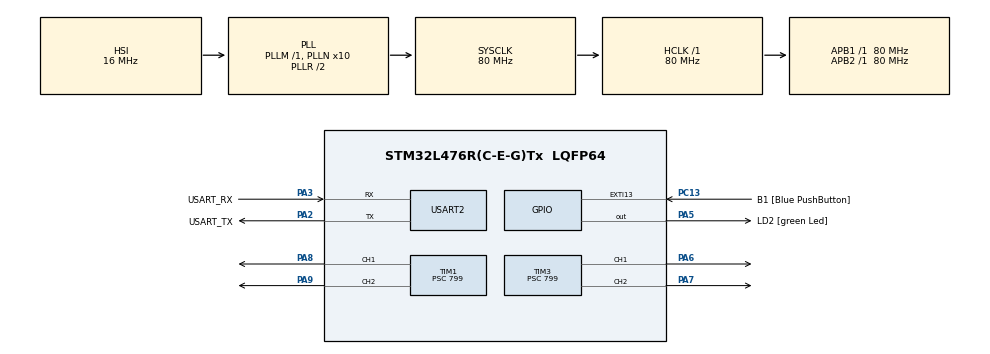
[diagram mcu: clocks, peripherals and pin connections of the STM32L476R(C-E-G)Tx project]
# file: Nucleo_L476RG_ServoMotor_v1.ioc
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Mcu.Family=STM32L4
PA2.GPIO_PuPd=GPIO_NOPULL
RCC.CortexFreq_Value=80000000
PH0-OSC_IN\ (PH0).Signal=RCC_OSC_IN
PA3.GPIO_PuPd=GPIO_NOPULL
PA2.GPIO_Speed=GPIO_SPEED_FREQ_VERY_HIGH
PC15-OSC32_OUT\ (PC15).Mode=LSE-External-Oscillator
PC13.GPIO_Label=B1 [Blue PushButton]
PA3.GPIO_Speed=GPIO_SPEED_FREQ_VERY_HIGH
RCC.SYSCLKSource=RCC_SYSCLKSOURCE_PLLCLK
ProjectManager.StackSize=0x400
PB3\ (JTDO-TRACESWO).Signal=SYS_JTDO-SWO
PC14-OSC32_IN\ (PC14).Mode=LSE-External-Oscillator
PA14\ (JTCK-SWCLK).Signal=SYS_JTCK-SWCLK
TIM1.Prescaler=799
RCC.HCLKFreq_Value=80000000
RCC.APB2TimFreq_Value=80000000
TIM3.Period=1999
RCC.AHBFreq_Value=80000000
RCC.PREFETCH_ENABLE=1
TIM3.Channel-PWM\ Generation1\ CH1=TIM_CHANNEL_1
RCC.HSE_VALUE=8000000
USART2.VirtualMode-Asynchronous=VM_ASYNC
TIM1.Channel-PWM\ Generation1\ CH1=TIM_CHANNEL_1
TIM3.Prescaler=799
PA5.GPIO_PuPd=GPIO_NOPULL
PC13.GPIO_PuPd=GPIO_NOPULL
PA8.Signal=S_TIM1_CH1
SH.S_TIM3_CH1.0=TIM3_CH1,PWM Generation1 CH1
VP_TIM1_VS_ClockSourceINT.Mode=Internal
Mcu.Package=LQFP64
PA6.Signal=S_TIM3_CH1
PA2.GPIO_Label=USART_TX
RCC.APB1TimFreq_Value=80000000
TIM1.Period=1999
PA13\ (JTMS-SWDIO).Signal=SYS_JTMS-SWDIO
VP_TIM3_VS_ClockSourceINT.Mode=Internal
PA3.Signal=USART2_RX
PA2.GPIO_Mode=GPIO_MODE_AF_PP
RCC.MSI_VALUE=4000000
RCC.PLLSourceVirtual=RCC_PLLSOURCE_HSI
PA14\ (JTCK-SWCLK).Mode=Serial_Wire
PC13.Signal=GPXTI13
PC15-OSC32_OUT\ (PC15).Signal=RCC_OSC32_OUT
PA14\ (JTCK-SWCLK).GPIO_Label=TCK
PB3\ (JTDO-TRACESWO).GPIO_Label=SWO
PH1-OSC_OUT\ (PH1).Signal=RCC_OSC_OUT
PA3.Mode=Asynchronous
SH.S_TIM1_CH1.0=TIM1_CH1,PWM Generation1 CH1
ProjectManager.TargetToolchain=STM32CubeIDE
PA3.GPIO_Mode=GPIO_MODE_AF_PP
PA9.Signal=S_TIM1_CH2
TIM1.Channel-PWM\ Generation2\ CH2=TIM_CHANNEL_2
RCC.USBFreq_Value=64000000
PA5.Signal=GPIO_Output
SH.S_TIM3_CH2.0=TIM3_CH2,PWM Generation2 CH2
board=NUCLEO-L476RG
RCC.VCOOutputFreq_Value=160000000
RCC.APB2Freq_Value=80000000
PA5.GPIO_ModeDefaultOutputPP=GPIO_MODE_OUTPUT_PP
PA13\ (JTMS-SWDIO).GPIO_Label=TMS
SH.S_TIM1_CH2.0=TIM1_CH2,PWM Generation2 CH2
RCC.ADCFreq_Value=64000000
Mcu.Name=STM32L476R(C-E-G)Tx
PA2.Signal=USART2_TX
PA13\ (JTMS-SWDIO).Mode=Serial_Wire
RCC.SYSCLKFreq_VALUE=80000000
PA5.GPIO_Label=LD2 [green Led]
PC13.GPIO_ModeDefaultEXTI=GPIO_MODE_IT_FALLING
PC14-OSC32_IN\ (PC14).Signal=RCC_OSC32_IN
ProjectManager.HeapSize=0x200
RCC.HSI_VALUE=16000000
PA5.GPIO_Speed=GPIO_SPEED_FREQ_LOW
NVIC.PriorityGroup=NVIC_PRIORITYGROUP_4
TIM3.Channel-PWM\ Generation2\ CH2=TIM_CHANNEL_2
RCC.PLLN=10
PA2.Mode=Asynchronous
RCC.APB1Freq_Value=80000000
PA3.GPIO_Label=USART_RX
PA7.Signal=S_TIM3_CH2

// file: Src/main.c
/* USER CODE BEGIN Header */
/**
 ******************************************************************************
 * @file           : main.c
 * @brief          : Main program body
 ******************************************************************************
 * @attention
 *
 * <h2><center>&copy; Copyright (c) 2020 STMicroelectronics.
 * All rights reserved.</center></h2>
 *
 * This software component is licensed by ST under BSD 3-Clause license,
 * the "License"; You may not use this file except in compliance with the
 * License. You may obtain a copy of the License at:
 *                        opensource.org/licenses/BSD-3-Clause
 *
 ******************************************************************************
 */
/* USER CODE END Header */

#include "main.h"
#include <stdio.h>
#include <stdlib.h>

/* USER CODE BEGIN PTD */
typedef struct {
	char name[10];
	uint16_t nbArgs;
	void (*pCmdFunc)();
} CMD_T;

/* USER CODE END PTD */

/* USER CODE BEGIN PD */
#define MOTOR1 (1<<0)
#define MOTOR2 (1<<1)
#define MOTOR3 (1<<2)
#define MOTOR4 (1<<3)
/* USER CODE END PD */

TIM_HandleTypeDef htim1;
TIM_HandleTypeDef htim3;

UART_HandleTypeDef huart2;

void SystemClock_Config(void);
static void MX_GPIO_Init(void);
static void MX_TIM1_Init(void);
static void MX_USART2_UART_Init(void);
static void MX_TIM3_Init(void);

__IO uint16_t cmdIndex=0;
#define DEBUG   0
#define MAXARGS 1 // 1 maximum number of arguments

void CMD_Motor(    uint16_t nbArgs, int32_t *args );

const CMD_T CmdTable[] = {
		{"M",   2, CMD_Motor},
		{"",        0, NULL}
};
/* USER CODE BEGIN PFP */
void UART_ReadString(char* str);
void CMD_Parser(char* str);

void ServoMotorOn(uint8_t motor);
void ServoMotorOff(uint8_t motor);
void ServoMotorSetAngle(uint8_t motor, uint8_t angle);

/* USER CODE END PFP */

/* USER CODE BEGIN 0 */

#ifdef __GNUC__
/* With GCC, small printf (option LD Linker->Libraries->Small printf
     set to 'Yes') calls __io_putchar() */
#define PUTCHAR_PROTOTYPE int __io_putchar(int ch)
#else
#define PUTCHAR_PROTOTYPE int fputc(int ch, FILE *f)
#endif /* __GNUC__ */

/* Private functions ---------------------------------------------------------*/
/**
 * @brief  Retargets the C library printf function to the USART.
 * @param  None
 * @retval None
 */
PUTCHAR_PROTOTYPE
{
	/* Place your implementation of fputc here */
	/* e.g. write a character to the EVAL_COM1 and Loop until the end of transmission */
	HAL_UART_Transmit(&huart2, (uint8_t *)&ch, 1, 0xFFFF);

	return ch;
}

/* USER CODE END 0 */

int main(void)
{

	/* MCU Configuration--------------------------------------------------------*/

	/* Reset of all peripherals, Initializes the Flash interface and the Systick. */
	HAL_Init();

	/* Configure the system clock */
	SystemClock_Config();

	/* Initialize all configured peripherals */
	MX_GPIO_Init();
	MX_TIM1_Init();
	MX_USART2_UART_Init();
	MX_TIM3_Init();
	/* USER CODE BEGIN 2 */

	printf("start\n");
	char buffer[256];
	buffer[0] = '\0'; // empty string

	ServoMotorOn(1);
	ServoMotorOn(2);
	ServoMotorOn(3);
	ServoMotorOn(4);
	/* USER CODE END 2 */

	/* Infinite loop */
	while (1)
	{

		/* USER CODE BEGIN 3 */
		UART_ReadString(buffer);
		CMD_Parser(buffer);
	}
	/* USER CODE END 3 */
}

void SystemClock_Config(void)
{
	RCC_OscInitTypeDef RCC_OscInitStruct = {0};
	RCC_ClkInitTypeDef RCC_ClkInitStruct = {0};
	RCC_PeriphCLKInitTypeDef PeriphClkInit = {0};

	/** Initializes the CPU, AHB and APB busses clocks
	 */
	RCC_OscInitStruct.OscillatorType = RCC_OSCILLATORTYPE_HSI;
	RCC_OscInitStruct.HSIState = RCC_HSI_ON;
	RCC_OscInitStruct.HSICalibrationValue = RCC_HSICALIBRATION_DEFAULT;
	RCC_OscInitStruct.PLL.PLLState = RCC_PLL_ON;
	RCC_OscInitStruct.PLL.PLLSource = RCC_PLLSOURCE_HSI;
	RCC_OscInitStruct.PLL.PLLM = 1;
	RCC_OscInitStruct.PLL.PLLN = 10;
	RCC_OscInitStruct.PLL.PLLP = RCC_PLLP_DIV7;
	RCC_OscInitStruct.PLL.PLLQ = RCC_PLLQ_DIV2;
	RCC_OscInitStruct.PLL.PLLR = RCC_PLLR_DIV2;
	if (HAL_RCC_OscConfig(&RCC_OscInitStruct) != HAL_OK)
	{
		Error_Handler();
	}
	/** Initializes the CPU, AHB and APB busses clocks
	 */
	RCC_ClkInitStruct.ClockType = RCC_CLOCKTYPE_HCLK|RCC_CLOCKTYPE_SYSCLK
			|RCC_CLOCKTYPE_PCLK1|RCC_CLOCKTYPE_PCLK2;
	RCC_ClkInitStruct.SYSCLKSource = RCC_SYSCLKSOURCE_PLLCLK;
	RCC_ClkInitStruct.AHBCLKDivider = RCC_SYSCLK_DIV1;
	RCC_ClkInitStruct.APB1CLKDivider = RCC_HCLK_DIV1;
	RCC_ClkInitStruct.APB2CLKDivider = RCC_HCLK_DIV1;

	if (HAL_RCC_ClockConfig(&RCC_ClkInitStruct, FLASH_LATENCY_4) != HAL_OK)
	{
		Error_Handler();
	}
	PeriphClkInit.PeriphClockSelection = RCC_PERIPHCLK_USART2;
	PeriphClkInit.Usart2ClockSelection = RCC_USART2CLKSOURCE_PCLK1;
	if (HAL_RCCEx_PeriphCLKConfig(&PeriphClkInit) != HAL_OK)
	{
		Error_Handler();
	}
	/** Configure the main internal regulator output voltage
	 */
	if (HAL_PWREx_ControlVoltageScaling(PWR_REGULATOR_VOLTAGE_SCALE1) != HAL_OK)
	{
		Error_Handler();
	}
}

static void MX_TIM1_Init(void)
{

	TIM_ClockConfigTypeDef sClockSourceConfig = {0};
	TIM_MasterConfigTypeDef sMasterConfig = {0};
	TIM_OC_InitTypeDef sConfigOC = {0};
	TIM_BreakDeadTimeConfigTypeDef sBreakDeadTimeConfig = {0};

	htim1.Instance = TIM1;
	htim1.Init.Prescaler = 799;
	htim1.Init.CounterMode = TIM_COUNTERMODE_UP;
	htim1.Init.Period = 1999;
	htim1.Init.ClockDivision = TIM_CLOCKDIVISION_DIV1;
	htim1.Init.RepetitionCounter = 0;
	htim1.Init.AutoReloadPreload = TIM_AUTORELOAD_PRELOAD_DISABLE;
	if (HAL_TIM_Base_Init(&htim1) != HAL_OK)
	{
		Error_Handler();
	}
	sClockSourceConfig.ClockSource = TIM_CLOCKSOURCE_INTERNAL;
	if (HAL_TIM_ConfigClockSource(&htim1, &sClockSourceConfig) != HAL_OK)
	{
		Error_Handler();
	}
	if (HAL_TIM_PWM_Init(&htim1) != HAL_OK)
	{
		Error_Handler();
	}
	sMasterConfig.MasterOutputTrigger = TIM_TRGO_RESET;
	sMasterConfig.MasterOutputTrigger2 = TIM_TRGO2_RESET;
	sMasterConfig.MasterSlaveMode = TIM_MASTERSLAVEMODE_DISABLE;
	if (HAL_TIMEx_MasterConfigSynchronization(&htim1, &sMasterConfig) != HAL_OK)
	{
		Error_Handler();
	}
	sConfigOC.OCMode = TIM_OCMODE_PWM1;
	sConfigOC.Pulse = 0;
	sConfigOC.OCPolarity = TIM_OCPOLARITY_HIGH;
	sConfigOC.OCNPolarity = TIM_OCNPOLARITY_HIGH;
	sConfigOC.OCFastMode = TIM_OCFAST_DISABLE;
	sConfigOC.OCIdleState = TIM_OCIDLESTATE_RESET;
	sConfigOC.OCNIdleState = TIM_OCNIDLESTATE_RESET;
	if (HAL_TIM_PWM_ConfigChannel(&htim1, &sConfigOC, TIM_CHANNEL_1) != HAL_OK)
	{
		Error_Handler();
	}
	if (HAL_TIM_PWM_ConfigChannel(&htim1, &sConfigOC, TIM_CHANNEL_2) != HAL_OK)
	{
		Error_Handler();
	}
	sBreakDeadTimeConfig.OffStateRunMode = TIM_OSSR_DISABLE;
	sBreakDeadTimeConfig.OffStateIDLEMode = TIM_OSSI_DISABLE;
	sBreakDeadTimeConfig.LockLevel = TIM_LOCKLEVEL_OFF;
	sBreakDeadTimeConfig.DeadTime = 0;
	sBreakDeadTimeConfig.BreakState = TIM_BREAK_DISABLE;
	sBreakDeadTimeConfig.BreakPolarity = TIM_BREAKPOLARITY_HIGH;
	sBreakDeadTimeConfig.BreakFilter = 0;
	sBreakDeadTimeConfig.Break2State = TIM_BREAK2_DISABLE;
	sBreakDeadTimeConfig.Break2Polarity = TIM_BREAK2POLARITY_HIGH;
	sBreakDeadTimeConfig.Break2Filter = 0;
	sBreakDeadTimeConfig.AutomaticOutput = TIM_AUTOMATICOUTPUT_DISABLE;
	if (HAL_TIMEx_ConfigBreakDeadTime(&htim1, &sBreakDeadTimeConfig) != HAL_OK)
	{
		Error_Handler();
	}
	HAL_TIM_MspPostInit(&htim1);

}

static void MX_TIM3_Init(void)
{

	TIM_ClockConfigTypeDef sClockSourceConfig = {0};
	TIM_MasterConfigTypeDef sMasterConfig = {0};
	TIM_OC_InitTypeDef sConfigOC = {0};

	htim3.Instance = TIM3;
	htim3.Init.Prescaler = 799;
	htim3.Init.CounterMode = TIM_COUNTERMODE_UP;
	htim3.Init.Period = 1999;
	htim3.Init.ClockDivision = TIM_CLOCKDIVISION_DIV1;
	htim3.Init.AutoReloadPreload = TIM_AUTORELOAD_PRELOAD_DISABLE;
	if (HAL_TIM_Base_Init(&htim3) != HAL_OK)
	{
		Error_Handler();
	}
	sClockSourceConfig.ClockSource = TIM_CLOCKSOURCE_INTERNAL;
	if (HAL_TIM_ConfigClockSource(&htim3, &sClockSourceConfig) != HAL_OK)
	{
		Error_Handler();
	}
	if (HAL_TIM_PWM_Init(&htim3) != HAL_OK)
	{
		Error_Handler();
	}
	sMasterConfig.MasterOutputTrigger = TIM_TRGO_RESET;
	sMasterConfig.MasterSlaveMode = TIM_MASTERSLAVEMODE_DISABLE;
	if (HAL_TIMEx_MasterConfigSynchronization(&htim3, &sMasterConfig) != HAL_OK)
	{
		Error_Handler();
	}
	sConfigOC.OCMode = TIM_OCMODE_PWM1;
	sConfigOC.Pulse = 0;
	sConfigOC.OCPolarity = TIM_OCPOLARITY_HIGH;
	sConfigOC.OCFastMode = TIM_OCFAST_DISABLE;
	if (HAL_TIM_PWM_ConfigChannel(&htim3, &sConfigOC, TIM_CHANNEL_1) != HAL_OK)
	{
		Error_Handler();
	}
	if (HAL_TIM_PWM_ConfigChannel(&htim3, &sConfigOC, TIM_CHANNEL_2) != HAL_OK)
	{
		Error_Handler();
	}
	HAL_TIM_MspPostInit(&htim3);

}

static void MX_USART2_UART_Init(void)
{

	huart2.Instance = USART2;
	huart2.Init.BaudRate = 115200;
	huart2.Init.WordLength = UART_WORDLENGTH_8B;
	huart2.Init.StopBits = UART_STOPBITS_1;
	huart2.Init.Parity = UART_PARITY_NONE;
	huart2.Init.Mode = UART_MODE_TX_RX;
	huart2.Init.HwFlowCtl = UART_HWCONTROL_NONE;
	huart2.Init.OverSampling = UART_OVERSAMPLING_16;
	huart2.Init.OneBitSampling = UART_ONE_BIT_SAMPLE_DISABLE;
	huart2.AdvancedInit.AdvFeatureInit = UART_ADVFEATURE_NO_INIT;
	if (HAL_UART_Init(&huart2) != HAL_OK)
	{
		Error_Handler();
	}

}

static void MX_GPIO_Init(void)
{
	GPIO_InitTypeDef GPIO_InitStruct = {0};

	/* GPIO Ports Clock Enable */
	__HAL_RCC_GPIOC_CLK_ENABLE();
	__HAL_RCC_GPIOH_CLK_ENABLE();
	__HAL_RCC_GPIOA_CLK_ENABLE();
	__HAL_RCC_GPIOB_CLK_ENABLE();

	/*Configure GPIO pin Output Level */
	HAL_GPIO_WritePin(LD2_GPIO_Port, LD2_Pin, GPIO_PIN_RESET);

	/*Configure GPIO pin : B1_Pin */
	GPIO_InitStruct.Pin = B1_Pin;
	GPIO_InitStruct.Mode = GPIO_MODE_IT_FALLING;
	GPIO_InitStruct.Pull = GPIO_NOPULL;
	HAL_GPIO_Init(B1_GPIO_Port, &GPIO_InitStruct);

	/*Configure GPIO pin : LD2_Pin */
	GPIO_InitStruct.Pin = LD2_Pin;
	GPIO_InitStruct.Mode = GPIO_MODE_OUTPUT_PP;
	GPIO_InitStruct.Pull = GPIO_NOPULL;
	GPIO_InitStruct.Speed = GPIO_SPEED_FREQ_LOW;
	HAL_GPIO_Init(LD2_GPIO_Port, &GPIO_InitStruct);

}

/* USER CODE BEGIN 4 */
void ServoMotorOn(uint8_t motor){
	/*
	 * Setting the URS bit inside the TIMx->CR1 register: this will cause
that the UEV event is generated only when the counter reaches the overflow.
It is possible to configure the timer so that the ARR register is buffered,
by setting the TIM_CR1_ARPE bit in the TIMx->CR1 control register.
This will cause that the content of the shadow register is updated automatically
	 */
	switch (motor){
	case 1:
		if (htim1.State == HAL_TIM_STATE_BUSY){
			HAL_TIM_PWM_Stop(&htim1, TIM_CHANNEL_1);
		}
		TIM1->CR1 |= TIM_CR1_ARPE; //Enable preloading
		/* Enable the output compare 1 Preload */
		TIM1->CCMR1 |= TIM_CCMR1_OC1PE;
		HAL_TIM_PWM_Start(&htim1, TIM_CHANNEL_1);
		break;
	case 2:
		if (htim1.State == HAL_TIM_STATE_BUSY){
			HAL_TIM_PWM_Stop(&htim1, TIM_CHANNEL_2);
		}
		TIM1->CR1 |= TIM_CR1_ARPE; //Enable preloading
		/* Enable the output compare 1 Preload */
		TIM1->CCMR1 |= TIM_CCMR1_OC1PE;
		HAL_TIM_PWM_Start(&htim1, TIM_CHANNEL_2);
		break;
	case 3:
		if (htim3.State == HAL_TIM_STATE_BUSY){
			HAL_TIM_PWM_Stop(&htim3, TIM_CHANNEL_1);
		}
		TIM3->CR1 |= TIM_CR1_ARPE; //Enable preloading
		/* Enable the output compare 1 Preload */
		TIM3->CCMR1 |= TIM_CCMR1_OC1PE;
		HAL_TIM_PWM_Start(&htim3, TIM_CHANNEL_1);
		break;
	case 4:
		if (htim3.State == HAL_TIM_STATE_BUSY){
			HAL_TIM_PWM_Stop(&htim3, TIM_CHANNEL_2);
		}
		TIM3->CR1 |= TIM_CR1_ARPE; //Enable preloading
		/* Enable the output compare 1 Preload */
		TIM3->CCMR1 |= TIM_CCMR1_OC1PE;
		HAL_TIM_PWM_Start(&htim3, TIM_CHANNEL_2);
		break;
	}
}

void ServoMotorOff(uint8_t motor){
	switch (motor){
	case 1:
		HAL_TIM_PWM_Stop(&htim1, TIM_CHANNEL_1);
		break;
	case 2:
		HAL_TIM_PWM_Stop(&htim1, TIM_CHANNEL_2);
		break;
	case 3:
		HAL_TIM_PWM_Stop(&htim3, TIM_CHANNEL_1);
		break;
	case 4:
		HAL_TIM_PWM_Stop(&htim3, TIM_CHANNEL_2);
		break;
	}
}

void ServoMotorSetAngle(uint8_t motor, uint8_t angle){
	if (angle>90) angle=90;
	uint8_t PulseWidth = (uint8_t) (99.0f+angle*10.0f/9.0f);
	switch (motor){
	case 1:
		TIM1->CCR1 = PulseWidth;
		break;
	case 2:
		TIM1->CCR2 = PulseWidth;
		break;
	case 3:
		TIM3->CCR1 = PulseWidth;
		break;
	case 4:
		TIM3->CCR2 = PulseWidth;
		break;
	}
}

/**
 * @brief  Reads a string terminatec by '\n' character
 * @param char array
 * @retval None
 */
void UART_ReadString(char* str){
	char readBuf[1];
	str[0]='\0'; // empty string
	for (;;){
		HAL_UART_Receive(&huart2, (uint8_t*)readBuf, 1, HAL_MAX_DELAY);
		if (readBuf[0]=='\n') return;
		strncat(str, readBuf, 1); // do not use the unsafe strcat
	}
}

/**
 * @brief  Parses a command string
 * @param char array
 * @retval None
 */
void CMD_Parser(char* buffer){
	// get the first token
	char cmd[256], str[256];
	const char token[3] = " ,";

	buffer[strcspn(buffer, "\r\n")] = 0; // works for LF, CR, CRLF, LFCR, ...
	strcpy(cmd, buffer);
	char *sCmd = strtok(cmd, token);

	sprintf(str, "Cmd Name #%s#\n", sCmd);
	HAL_UART_Transmit(&huart2, (uint8_t*)str, strlen(str), HAL_MAX_DELAY);

	/* Command Callback identification */
	uint8_t MATCH=0;
	for(cmdIndex=0; CmdTable[cmdIndex].pCmdFunc!=NULL; cmdIndex++) {
		if (strcmp(CmdTable[cmdIndex].name, sCmd) == 0 ){
			MATCH=1;
			break;
		}
	}
    if (!MATCH) return;

	uint16_t nbArgs=CmdTable[cmdIndex].nbArgs;

#if DEBUG
		sprintf(str, "Function Call %d Parameters Number %d\n", cmdIndex, nbArgs);
		HAL_UART_Transmit(&huart2, (uint8_t*)str, strlen(str), HAL_MAX_DELAY);
#endif

	int32_t funcArgs[MAXARGS];
	for (uint16_t n=0; n<nbArgs; n++){
		sCmd = strtok(NULL, token);
		funcArgs[n]=atoi(sCmd);
	}

#if DEBUG
	sprintf(str, "Function Pointer %p\n", CmdTable[cmdIndex].pCmdFunc);
	HAL_UART_Transmit(&huart2, (uint8_t*)str, strlen(str), HAL_MAX_DELAY);
#endif

	if(CmdTable[cmdIndex].pCmdFunc!=NULL){
#if DEBUG
		sprintf(str, "Function Call %d\n", cmdIndex);
		HAL_UART_Transmit(&huart2, (uint8_t*)str, strlen(str), HAL_MAX_DELAY);
#endif
		CmdTable[cmdIndex].pCmdFunc(nbArgs, funcArgs);
	}
	else{
		Error_Handler();
	}
}

void CMD_Motor(    uint16_t nbArgs, int32_t *args ){
#ifdef NUCLEO_USE_USART
	printf("Cmd %s\n", CmdTable[cmdIndex].name);
	for (uint16_t n=0; n<nbArgs; n++){
		printf("%ld\n", args[n]);
	}
#endif
//	ServoMotorOn(args[0]);
	ServoMotorSetAngle(args[0], args[1]);
	HAL_Delay(1000);
//	ServoMotorOff(args[0]);
	printf("CPLT\n");
}
/* USER CODE END 4 */

void Error_Handler(void)
{
}

/************************ (C) COPYRIGHT STMicroelectronics *****END OF FILE****/
